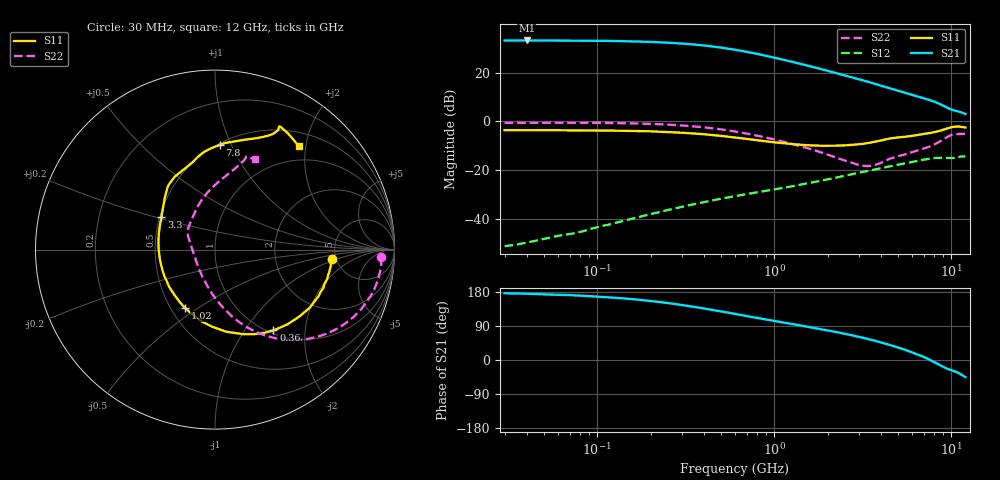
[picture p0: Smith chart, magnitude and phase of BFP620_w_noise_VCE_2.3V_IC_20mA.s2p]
! Infineon Technologies  Discrete & RF Semiconductors
! BFP620
! VCE =  2.3 V,  IC =  20 mA
! Common Emitter S-Parameters:  Nov 2015
# GHz  S  MA  R  50
!  f  S11  S21  S12  S22
! GHz  MAG  ANG  MAG  ANG  MAG  ANG  MAG  ANG
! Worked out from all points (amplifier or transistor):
!   239 points, 30 MHz to 12 GHz, reference 50 ohm
!   highest |S21| = 33.2 dB at 40 MHz (marker M1)
!   |S21| within 3 dB of that: start of sweep to 507 MHz
!   unconditionally stable (mu >= 1): 2.906 GHz to end of sweep
!   at 300 MHz: K = 0.34, MSG = 33.6 dB, |S12| = -35.2 dB
!   at 1.88 GHz: K = 0.90, MSG = 22.8 dB, |S12| = -24.3 dB
!   at 12 GHz: K = 1.11, MAG = 6.7 dB, |S12| = -14.5 dB
!   lowest NFmin = 0.95 dB at 450 MHz
!   S11 on the Smith chart (normalised r, x): 30 MHz: 4.61, -0.82; 360 MHz: 1.05, -1.37; 1.02 GHz: 0.59, -0.44; 3.3 GHz: 0.51, +0.21; 7.8 GHz: 0.51, +0.91; 12 GHz: 0.73, +1.87
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0.03  0.6532 -4.5  45.48 176.1  0.0027 45.9  0.9253 -2.6
0.04  0.6486 -6.4  45.6 175.0  0.0032 52.7  0.9274 -3.8
0.05  0.6513 -7.8  45.45 172.9  0.0038 58.2  0.9298 -5.0
0.07  0.6486 -11.3  45.38 171.3  0.0048 63.0  0.9283 -7.4
0.085  0.6462 -13.6  45.06 169.3  0.0056 65.9  0.9258 -9.2
0.115  0.6396 -18.5  44.68 165.5  0.0074 68.5  0.9178 -12.7
0.15  0.6331 -24.0  43.88 161.5  0.0095 69.8  0.9048 -16.6
0.2  0.6194 -31.5  42.59 155.8  0.0123 69.0  0.8803 -22.1
0.24  0.6023 -37.4  41.36 151.4  0.0144 67.9  0.8565 -26.2
0.3  0.5791 -46.1  39.48 145.2  0.0174 66.3  0.8183 -32.0
0.36  0.5546 -54.1  37.39 139.5  0.02 64.4  0.7759 -37.3
0.45  0.5186 -65.3  34.21 131.9  0.0237 61.9  0.7128 -44.5
0.6  0.4627 -81.9  29.39 121.5  0.0288 58.7  0.6137 -54.4
0.8  0.4068 -100.5  24.14 110.9  0.0345 56.0  0.5038 -64.3
1.02  0.365 -117.3  19.92 102.3  0.0401 54.2  0.4138 -72.7
1.2  0.3425 -129.5  17.32 96.5  0.0444 53.1  0.3564 -78.5
1.64  0.3173 -153.5  13.09 85.6  0.0551 50.8  0.2608 -91.2
2.4  0.3167 174.5  9.077 70.8  0.0731 45.8  0.1632 -116.3
3.3  0.3499 148.5  6.62 56.7  0.0937 38.4  0.1199 -158.3
4.5  0.4408 126.5  4.752 39.4  0.1181 27.6  0.1699 152.7
7.8  0.5839 87.3  2.606 -2.7  0.1723 -4.3  0.3182 97.9
12  0.7418 50.9  1.401 -45.1  0.1885 -38.9  0.554 66.0
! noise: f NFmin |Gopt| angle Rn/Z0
0.45  0.95  0.03  -45  0.13
0.9  0.96  0.06  -126  0.12
1.9  0.96  0.11  -135  0.1
2.4  0.99  0.13  -132  0.1
3.5  1.04  0.21  -91  0.14
5.5  1.31  0.24  -83  0.17
10  1.72  0.6  -48  0.79
